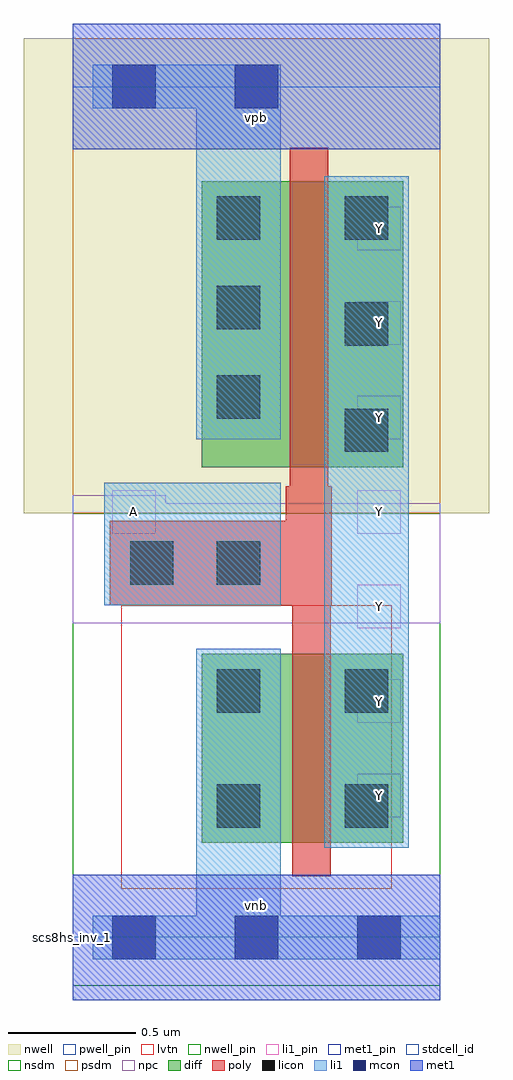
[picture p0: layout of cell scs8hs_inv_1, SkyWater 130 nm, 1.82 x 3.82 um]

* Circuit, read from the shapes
.subckt scs8hs_inv_1 A Y vgnd vnb vpb vpwr
XM1 Y A vgnd vnb sky130_fd_pr__nfet_01v8_lvt w=0.74 l=0.15
XM2 Y A vpwr vpb sky130_fd_pr__pfet_01v8 w=1.12 l=0.15
.ends

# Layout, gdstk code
import gdstk
lib = gdstk.Library(unit=1e-6, precision=1e-09)
def R(c, l, rs):  # rectangles x0, y0, x1, y1
    for r in rs: c.add(gdstk.rectangle(r[:2], r[2:], *l))
def A(c, l, x, y, w, h, nx, ny, dx, dy):  # array of equal rectangles
    R(c, l, [(x+i*dx, y+j*dy, x+i*dx+w, y+j*dy+h) for i in range(nx) for j in range(ny)])
def P(c, l, *ps):  # polygons
    for p in ps: c.add(gdstk.Polygon(p, *l))
nwell_pin = (64, 16)
nwell = (64, 20)
diff = (65, 20)
poly = (66, 20)
licon = (66, 44)
li1_pin = (67, 16)
li1 = (67, 20)
mcon = (67, 44)
met1_pin = (68, 16)
met1 = (68, 20)
stdcell_id = (81, 4)
nsdm = (93, 44)
psdm = (94, 20)
npc = (95, 20)
pwell_pin = (122, 16)
lvtn = (125, 44)

scs8hs_inv_1 = lib.new_cell('scs8hs_inv_1')
R(scs8hs_inv_1, nwell_pin, [(0,3.085,1.44,3.33)])
R(scs8hs_inv_1, nwell, [(-0.19,1.66,1.63,3.52)])
R(scs8hs_inv_1, diff, [(0.505,0.37,1.295,1.11), (0.505,1.84,1.295,2.96)])
P(scs8hs_inv_1, poly, [(0.86,0.24),(0.86,1.3),(0.145,1.3),(0.145,1.63),(0.835,1.63),(0.835,1.765),(0.85,1.765),(0.85,3.09),(1,3.09),(1,1.765),(1.015,1.765),(1.015,1.3),(1.01,1.3),(1.01,0.24)])
A(scs8hs_inv_1, licon, 1.065, 1.9, 0.17, 0.17, 1, 3, 0, 0.415)
A(scs8hs_inv_1, licon, 0.565, 2.03, 0.17, 0.17, 1, 3, 0, 0.35)
R(scs8hs_inv_1, licon, [(0.565,0.43,0.735,0.6), (1.065,0.43,1.235,0.6), (0.565,0.88,0.735,1.05), (1.065,0.88,1.235,1.05), (0.225,1.38,0.395,1.55), (0.565,1.38,0.735,1.55)])
A(scs8hs_inv_1, li1_pin, 1.115, 0.47, 0.17, 0.17, 1, 7, 0, 0.37)
R(scs8hs_inv_1, li1_pin, [(0.155,1.58,0.325,1.75)])
R(scs8hs_inv_1, li1, [(0.985,0.35,1.315,2.98), (0.125,1.3,0.815,1.78)])
P(scs8hs_inv_1, li1, [(0.08,-0.085),(0.08,0.085),(0.485,0.085),(0.485,1.13),(0.815,1.13),(0.815,0.085),(1.44,0.085),(1.44,-0.085)],
  [(0.485,1.95),(0.485,3.245),(0.08,3.245),(0.08,3.415),(0.815,3.415),(0.815,1.95)])
A(scs8hs_inv_1, mcon, 0.155, -0.085, 0.17, 0.17, 3, 1, 0.48, 0)
R(scs8hs_inv_1, mcon, [(0.155,3.245,0.325,3.415), (0.635,3.245,0.805,3.415)])
R(scs8hs_inv_1, met1_pin, [(0,0,1.44,0.245), (0,3.085,1.44,3.33)])
R(scs8hs_inv_1, met1, [(0,-0.245,1.44,0.245), (0,3.085,1.44,3.575)])
R(scs8hs_inv_1, stdcell_id, [(0,0,1.44,3.33)])
R(scs8hs_inv_1, nsdm, [(0,-0.19,1.44,1.66)])
R(scs8hs_inv_1, psdm, [(0,1.66,1.44,3.52)])
P(scs8hs_inv_1, npc, [(0,1.23),(0,1.73),(0.365,1.73),(0.365,1.7),(1.44,1.7),(1.44,1.23)])
R(scs8hs_inv_1, pwell_pin, [(0,0,1.44,0.245)])
R(scs8hs_inv_1, lvtn, [(0.19,0.19,1.25,1.3)])
scs8hs_inv_1.add(gdstk.Label('scs8hs_inv_1', (0,0), layer=83, texttype=44))
scs8hs_inv_1.add(gdstk.Label('vnb', (0.72,0.123), layer=64, texttype=59))
scs8hs_inv_1.add(gdstk.Label('vpb', (0.72,3.208), layer=64, texttype=5))
scs8hs_inv_1.add(gdstk.Label('vpwr', (0.72,3.208), layer=68, texttype=5))
scs8hs_inv_1.add(gdstk.Label('vgnd', (0.72,0.123), layer=68, texttype=5))
scs8hs_inv_1.add(gdstk.Label('Y', (1.2,0.555), layer=67, texttype=5))
scs8hs_inv_1.add(gdstk.Label('Y', (1.2,0.925), layer=67, texttype=5))
scs8hs_inv_1.add(gdstk.Label('Y', (1.2,1.295), layer=67, texttype=5))
scs8hs_inv_1.add(gdstk.Label('Y', (1.2,1.665), layer=67, texttype=5))
scs8hs_inv_1.add(gdstk.Label('Y', (1.2,2.035), layer=67, texttype=5))
scs8hs_inv_1.add(gdstk.Label('Y', (1.2,2.405), layer=67, texttype=5))
scs8hs_inv_1.add(gdstk.Label('Y', (1.2,2.775), layer=67, texttype=5))
scs8hs_inv_1.add(gdstk.Label('A', (0.24,1.665), layer=67, texttype=5))

lib.write_gds('scs8hs_inv_1.gds')
